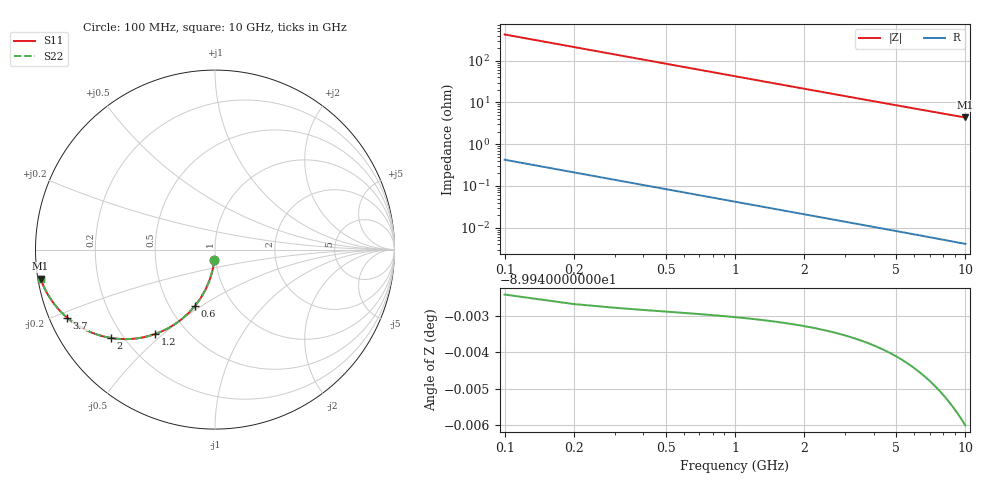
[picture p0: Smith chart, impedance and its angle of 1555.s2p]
# Hz S RI R 50.00
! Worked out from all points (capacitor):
!   100 points, 100 MHz to 10 GHz, reference 50 ohm
!   read as one part in shunt: C = 3.76 pF near 100 MHz
!   lowest |Z| = 4.36 ohm at 10 GHz (marker M1)
!   S11 on the Smith chart (normalised r, x): 100 MHz: 0.99, -0.12; 600 MHz: 0.67, -0.47; 1.2 GHz: 0.33, -0.47; 2 GHz: 0.15, -0.36; 3.7 GHz: 0.05, -0.22; 10 GHz: 0.01, -0.08
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1e8  -0.00352 -0.0588  0.9965 -0.0589  0.9965 -0.0589  -0.00352 -0.0588
2e8  -0.0139 -0.1163  0.9861 -0.1165  0.9861 -0.1165  -0.0139 -0.1163
3e8  -0.0306 -0.1715  0.9694 -0.1717  0.9694 -0.1717  -0.0306 -0.1715
4e8  -0.053 -0.2234  0.947 -0.2237  0.947 -0.2237  -0.053 -0.2234
5e8  -0.0803 -0.2711  0.9197 -0.2715  0.9197 -0.2715  -0.0803 -0.2711
6e8  -0.1116 -0.3142  0.8884 -0.3146  0.8884 -0.3146  -0.1116 -0.3142
7e8  -0.1459 -0.3523  0.8541 -0.3528  0.8541 -0.3528  -0.1459 -0.3523
9e8  -0.22 -0.4134  0.78 -0.4141  0.78 -0.4141  -0.22 -0.4134
1.2e9  -0.3336 -0.4706  0.6664 -0.4714  0.6664 -0.4714  -0.3336 -0.4706
1.5e9  -0.4385 -0.4952  0.5615 -0.4963  0.5615 -0.4963  -0.4385 -0.4952
1.8e9  -0.5289 -0.498  0.471 -0.4993  0.471 -0.4993  -0.5289 -0.498
2e9  -0.5807 -0.4922  0.4193 -0.4937  0.4193 -0.4937  -0.5807 -0.4922
2.3e9  -0.6465 -0.4767  0.3535 -0.4784  0.3535 -0.4784  -0.6465 -0.4767
2.6e9  -0.7001 -0.4568  0.2999 -0.4587  0.2999 -0.4587  -0.7001 -0.4568
3e9  -0.7562 -0.4277  0.2438 -0.43  0.2438 -0.43  -0.7562 -0.4277
3.4e9  -0.7991 -0.3989  0.2009 -0.4014  0.2009 -0.4014  -0.7991 -0.3989
3.7e9  -0.8247 -0.3783  0.1753 -0.3811  0.1753 -0.3811  -0.8247 -0.3783
4.3e9  -0.8638 -0.3409  0.1362 -0.3441  0.1362 -0.3441  -0.8638 -0.3409
5.1e9  -0.899 -0.2989  0.101 -0.3027  0.101 -0.3027  -0.899 -0.2989
6.7e9  -0.9387 -0.2368  0.0613 -0.2419  0.0613 -0.2419  -0.9387 -0.2368
8.4e9  -0.9601 -0.1921  0.0399 -0.1985  0.0399 -0.1985  -0.9601 -0.1921
1e10  -0.9715 -0.162  0.0285 -0.1697  0.0285 -0.1697  -0.9715 -0.162
